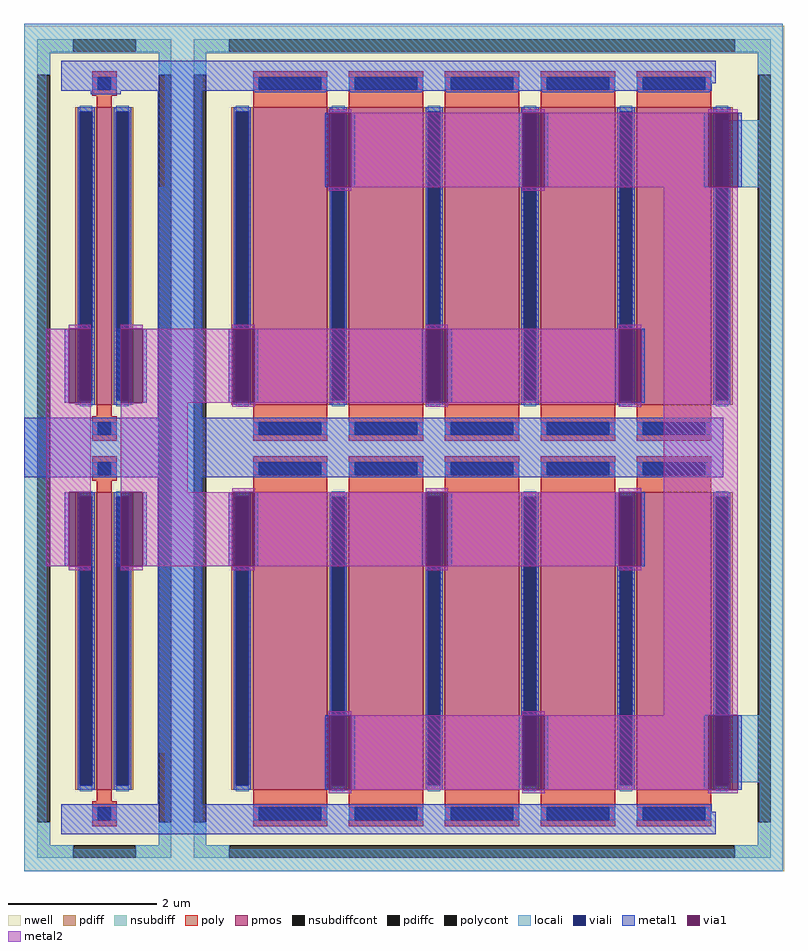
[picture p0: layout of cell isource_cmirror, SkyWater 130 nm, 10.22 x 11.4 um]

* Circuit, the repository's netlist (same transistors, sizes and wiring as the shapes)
* SPICE3 file created from isource_cmirror.ext - technology: sky130A

X0 m1_250_820# m1_n80_2060# m1_110_820# li_0_30# sky130_fd_pr__pfet_01v8 ad=0p pd=0u as=0p ps=0u w=4e+06u l=200000u
X1 m1_250_820# m1_n80_2060# m1_110_820# li_0_30# sky130_fd_pr__pfet_01v8 ad=0p pd=0u as=0p ps=0u w=4e+06u l=200000u
X2 li_0_30# m1_n80_2060# m1_250_820# li_0_30# sky130_fd_pr__pfet_01v8 ad=0p pd=0u as=0p ps=0u w=4e+06u l=1e+06u
X3 li_0_30# m1_n80_2060# m1_250_820# li_0_30# sky130_fd_pr__pfet_01v8 ad=0p pd=0u as=0p ps=0u w=4e+06u l=1e+06u
X4 m1_250_820# m1_n80_2060# li_0_30# li_0_30# sky130_fd_pr__pfet_01v8 ad=0p pd=0u as=0p ps=0u w=4e+06u l=1e+06u
X5 li_0_30# m1_n80_2060# m1_250_820# li_0_30# sky130_fd_pr__pfet_01v8 ad=0p pd=0u as=0p ps=0u w=4e+06u l=1e+06u
X6 li_0_30# m1_n80_2060# m1_250_820# li_0_30# sky130_fd_pr__pfet_01v8 ad=0p pd=0u as=0p ps=0u w=4e+06u l=1e+06u
X7 m1_250_820# m1_n80_2060# li_0_30# li_0_30# sky130_fd_pr__pfet_01v8 ad=0p pd=0u as=0p ps=0u w=4e+06u l=1e+06u
X8 li_0_30# m1_n80_2060# m1_250_820# li_0_30# sky130_fd_pr__pfet_01v8 ad=0p pd=0u as=0p ps=0u w=4e+06u l=1e+06u
X9 li_0_30# m1_n80_2060# m1_250_820# li_0_30# sky130_fd_pr__pfet_01v8 ad=0p pd=0u as=0p ps=0u w=4e+06u l=1e+06u
X10 m1_250_820# m1_n80_2060# li_0_30# li_0_30# sky130_fd_pr__pfet_01v8 ad=0p pd=0u as=0p ps=0u w=4e+06u l=1e+06u
X11 m1_250_820# m1_n80_2060# li_0_30# li_0_30# sky130_fd_pr__pfet_01v8 ad=0p pd=0u as=0p ps=0u w=4e+06u l=1e+06u

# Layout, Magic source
magic
tech sky130A
magscale 1 2
<< locali >>
rect 0 2200 2040 2280
rect 0 60 60 2200
rect 380 1840 480 2200
rect 1980 2020 2040 2200
rect 1880 1840 2040 2020
rect 360 320 480 1840
rect 1980 420 2040 1840
rect 380 60 480 320
rect 1880 240 2040 420
rect 1980 60 2040 240
rect 0 0 2040 60
<< metal1 >>
rect 100 2120 1860 2180
rect 100 2100 1850 2120
rect 180 2090 260 2100
rect 110 1260 120 1460
rect 180 1260 190 1460
rect 250 1260 260 1460
rect 320 1260 330 1460
rect 360 1220 480 2100
rect 810 1840 820 2040
rect 880 1840 890 2040
rect 1330 1840 1340 2040
rect 1400 1840 1410 2040
rect 1830 1840 1840 2040
rect 1920 1840 1930 2040
rect 550 1260 560 1460
rect 620 1260 630 1460
rect 1070 1260 1080 1460
rect 1140 1260 1150 1460
rect 1590 1260 1600 1460
rect 1660 1260 1670 1460
rect 0 1060 1880 1220
rect 110 820 120 1020
rect 180 820 190 1020
rect 250 820 260 1020
rect 320 820 330 1020
rect 360 180 480 1060
rect 550 820 560 1020
rect 620 820 630 1020
rect 1070 820 1080 1020
rect 1140 820 1150 1020
rect 1590 820 1600 1020
rect 1660 820 1670 1020
rect 810 220 820 420
rect 880 220 890 420
rect 1330 220 1340 420
rect 1400 220 1410 420
rect 1830 220 1840 420
rect 1920 220 1930 420
rect 100 160 1850 180
rect 100 100 1860 160
<< via1 >>
rect 120 1260 180 1460
rect 260 1260 320 1460
rect 820 1840 880 2040
rect 1340 1840 1400 2040
rect 1840 1840 1920 2040
rect 560 1260 620 1460
rect 1080 1260 1140 1460
rect 1600 1260 1660 1460
rect 120 820 180 1020
rect 260 820 320 1020
rect 560 820 620 1020
rect 1080 820 1140 1020
rect 1600 820 1660 1020
rect 820 220 880 420
rect 1340 220 1400 420
rect 1840 220 1920 420
<< metal2 >>
rect 820 2040 880 2050
rect 1340 2040 1400 2050
rect 1840 2040 1920 2050
rect 880 1840 1340 2040
rect 1400 1840 1840 2040
rect 820 1830 880 1840
rect 1340 1830 1400 1840
rect 120 1460 180 1470
rect 60 1260 120 1460
rect 60 1020 180 1260
rect 60 820 120 1020
rect 120 810 180 820
rect 260 1460 320 1470
rect 560 1460 620 1470
rect 1080 1460 1140 1470
rect 1600 1460 1660 1470
rect 320 1260 560 1460
rect 620 1260 1080 1460
rect 1140 1260 1600 1460
rect 260 1020 440 1260
rect 560 1250 620 1260
rect 1080 1250 1140 1260
rect 1600 1250 1660 1260
rect 560 1020 620 1030
rect 1080 1020 1140 1030
rect 1600 1020 1660 1030
rect 320 820 560 1020
rect 620 820 1080 1020
rect 1140 820 1600 1020
rect 260 810 320 820
rect 560 810 620 820
rect 1080 810 1140 820
rect 1600 810 1660 820
rect 820 420 880 430
rect 1340 420 1400 430
rect 1720 420 1920 1840
rect 880 220 1340 420
rect 1400 220 1840 420
rect 820 210 880 220
rect 1340 210 1400 220
rect 1840 210 1920 220
use sky130_fd_pr__pfet_01v8_ACY9XJ#0  sky130_fd_pr__pfet_01v8_ACY9XJ_0
transform 1 0 216 0 1 1137
box -216 -1137 216 1137
use sky130_fd_pr__pfet_01v8_J24RLQ#0  sky130_fd_pr__pfet_01v8_J24RLQ_0
transform 1 0 1232 0 1 1137
box -812 -1137 812 1137
<< end >>

# cell sky130_fd_pr__pfet_01v8_ACY9XJ#0: kit device sky130_fd_pr__pfet_01v8, w 4 l 0.2 m 2 nf 1 diffcov 100 polycov 100 guard 1 glc 1 grc 1 gtc 1 gbc 1 tbcov 100 rlcov 100 topc 1 botc 1 poverlap 0 doverlap 1 lmin 0.15 wmin 0.42 compatible {sky130_fd_pr__pfet_01v8 sky130_fd_pr__pfet_01v8_lvt sky130_fd_pr__pfet_01v8_hvt sky130_fd_pr__pfet_g5v0d10v5} full_metal 1 viasrc 100 viadrn 100 viagate 100 viagb 0 viagr 0 viagl 0 viagt 0

# cell sky130_fd_pr__pfet_01v8_J24RLQ#0: kit device sky130_fd_pr__pfet_01v8, w 4 l 1 m 2 nf 5 diffcov 100 polycov 100 guard 1 glc 1 grc 1 gtc 1 gbc 1 tbcov 100 rlcov 100 topc 1 botc 1 poverlap 0 doverlap 1 lmin 0.15 wmin 0.42 compatible {sky130_fd_pr__pfet_01v8 sky130_fd_pr__pfet_01v8_lvt sky130_fd_pr__pfet_01v8_hvt sky130_fd_pr__pfet_g5v0d10v5} full_metal 1 viasrc 100 viadrn 100 viagate 100 viagb 0 viagr 0 viagl 0 viagt 0
